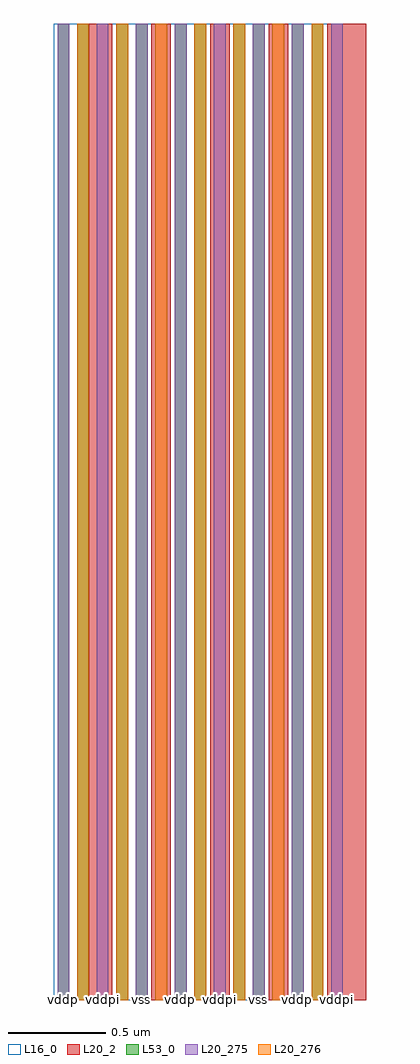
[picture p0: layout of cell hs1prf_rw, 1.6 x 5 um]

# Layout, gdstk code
import gdstk
lib = gdstk.Library(unit=1e-6, precision=5e-10)
def R(c, l, rs):  # rectangles x0, y0, x1, y1
    for r in rs: c.add(gdstk.rectangle(r[:2], r[2:], *l))
def A(c, l, x, y, w, h, nx, ny, dx, dy):  # array of equal rectangles
    R(c, l, [(x+i*dx, y+j*dy, x+i*dx+w, y+j*dy+h) for i in range(nx) for j in range(ny)])
L16_0 = (16, 0)
L20_2 = (20, 2)
L20_275 = (20, 275)
L20_276 = (20, 276)
L53_0 = (53, 0)

hs1prf_rw = lib.new_cell('hs1prf_rw')
R(hs1prf_rw, L16_0, [(0,0,1.6,5)])
A(hs1prf_rw, L20_2, 0.5, 0, 0.1, 5, 3, 1, 0.3, 0)
R(hs1prf_rw, L20_2, [(0.18,0,0.3,5), (1.4,0,1.6,5)])
R(hs1prf_rw, L53_0, [(0.02,0,0.08,5), (0.12,0,0.18,5), (0.32,0,0.38,5), (0.42,0,0.48,5), (0.62,0,0.68,5), (0.72,0,0.78,5), (0.92,0,0.98,5), (1.02,0,1.08,5), (1.22,0,1.28,5), (1.32,0,1.38,5)])
hs1prf_rw.add(gdstk.FlexPath([(0.05,0),(0.05,5)], 0.06, ends="flush", simple_path=True, layer=20, datatype=275))  # L20_275
hs1prf_rw.add(gdstk.FlexPath([(0.15,0),(0.15,5)], 0.06, ends="flush", simple_path=True, layer=20, datatype=276))  # L20_276
hs1prf_rw.add(gdstk.FlexPath([(0.25,0),(0.25,5)], 0.06, ends="flush", simple_path=True, layer=20, datatype=275))  # L20_275
hs1prf_rw.add(gdstk.FlexPath([(0.35,0),(0.35,5)], 0.06, ends="flush", simple_path=True, layer=20, datatype=276))  # L20_276
hs1prf_rw.add(gdstk.FlexPath([(0.45,0),(0.45,5)], 0.06, ends="flush", simple_path=True, layer=20, datatype=275))  # L20_275
hs1prf_rw.add(gdstk.FlexPath([(0.55,0),(0.55,5)], 0.06, ends="flush", simple_path=True, layer=20, datatype=276))  # L20_276
hs1prf_rw.add(gdstk.FlexPath([(0.65,0),(0.65,5)], 0.06, ends="flush", simple_path=True, layer=20, datatype=275))  # L20_275
hs1prf_rw.add(gdstk.FlexPath([(0.75,0),(0.75,5)], 0.06, ends="flush", simple_path=True, layer=20, datatype=276))  # L20_276
hs1prf_rw.add(gdstk.FlexPath([(0.85,0),(0.85,5)], 0.06, ends="flush", simple_path=True, layer=20, datatype=275))  # L20_275
hs1prf_rw.add(gdstk.FlexPath([(0.95,0),(0.95,5)], 0.06, ends="flush", simple_path=True, layer=20, datatype=276))  # L20_276
hs1prf_rw.add(gdstk.FlexPath([(1.05,0),(1.05,5)], 0.06, ends="flush", simple_path=True, layer=20, datatype=275))  # L20_275
hs1prf_rw.add(gdstk.FlexPath([(1.15,0),(1.15,5)], 0.06, ends="flush", simple_path=True, layer=20, datatype=276))  # L20_276
hs1prf_rw.add(gdstk.FlexPath([(1.25,0),(1.25,5)], 0.06, ends="flush", simple_path=True, layer=20, datatype=275))  # L20_275
hs1prf_rw.add(gdstk.FlexPath([(1.35,0),(1.35,5)], 0.06, ends="flush", simple_path=True, layer=20, datatype=276))  # L20_276
hs1prf_rw.add(gdstk.FlexPath([(1.45,0),(1.45,5)], 0.06, ends="flush", simple_path=True, layer=20, datatype=275))  # L20_275
hs1prf_rw.add(gdstk.Label('vddp', (0.05,0.005), layer=60, texttype=0))
hs1prf_rw.add(gdstk.Label('vss', (0.15,0.005), layer=60, texttype=0))
hs1prf_rw.add(gdstk.Label('vddpi', (0.25,0.005), layer=60, texttype=0))
hs1prf_rw.add(gdstk.Label('vddp', (0.35,0.005), layer=60, texttype=0))
hs1prf_rw.add(gdstk.Label('vss', (0.45,0.005), layer=60, texttype=0))
hs1prf_rw.add(gdstk.Label('vddpi', (0.55,0.005), layer=60, texttype=0))
hs1prf_rw.add(gdstk.Label('vddp', (0.65,0.005), layer=60, texttype=0))
hs1prf_rw.add(gdstk.Label('vss', (0.75,0.005), layer=60, texttype=0))
hs1prf_rw.add(gdstk.Label('vddpi', (0.85,0.005), layer=60, texttype=0))
hs1prf_rw.add(gdstk.Label('vddp', (0.95,0.005), layer=60, texttype=0))
hs1prf_rw.add(gdstk.Label('vss', (1.05,0.005), layer=60, texttype=0))
hs1prf_rw.add(gdstk.Label('vddpi', (1.15,0.005), layer=60, texttype=0))
hs1prf_rw.add(gdstk.Label('vddp', (1.25,0.005), layer=60, texttype=0))
hs1prf_rw.add(gdstk.Label('vss', (1.35,0.005), layer=60, texttype=0))
hs1prf_rw.add(gdstk.Label('vddpi', (1.45,0.005), layer=60, texttype=0))

lib.write_gds('hs1prf_rw.gds')
